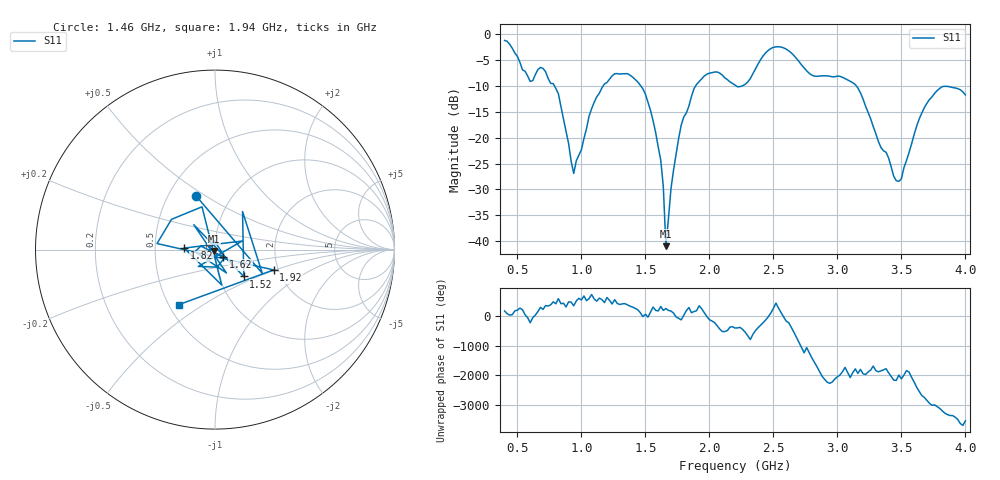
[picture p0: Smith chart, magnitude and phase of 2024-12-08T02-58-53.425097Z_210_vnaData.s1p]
!Created with skrf (http://scikit-rf.org).
# Hz S RI R 50.0
!freq ReS11 ImS11
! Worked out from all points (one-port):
!   181 points, 400 MHz to 4 GHz, reference 50 ohm
!   lowest |S11| = -40.9 dB at 1.66 GHz (marker M1), VSWR 1.02, Z = 49.6 - j0.825 ohm
!   |S11| at or under -10 dB: 788.1 MHz to 1.172 GHz (384 MHz wide, 39.2 % of centre); 1.462 GHz to 1.894 GHz (432.6 MHz wide, 25.8 % of centre); 3.146 GHz to end of sweep (the widest 3 of 4)
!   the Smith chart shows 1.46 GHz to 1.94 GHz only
!   S11 on the Smith chart (normalised r, x): 1.46 GHz: 0.68, +0.46; 1.52 GHz: 1.31, -0.41; 1.62 GHz: 1.09, -0.09; 1.82 GHz: 0.71, +0.01; 1.92 GHz: 1.89, -0.49; 1.94 GHz: 0.56, -0.40
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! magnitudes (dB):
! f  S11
! 400 MHz  -1.3
! 600 MHz  -9.2
! 720 MHz  -7.3
! 820 MHz  -11.6
! 860 MHz  -16.4
! 940 MHz  -26.9
! 1.1 GHz  -13.2
! 1.3 GHz  -7.8
! 1.46 GHz  -9.9
! 1.52 GHz  -13.2
! 1.62 GHz  -24.4
! 1.64 GHz  -29.5
! 1.66 GHz  -40.9
! 1.7 GHz  -29.8
! 1.76 GHz  -20.1
! 1.82 GHz  -15.3
! 1.92 GHz  -9.2
! 1.94 GHz  -8.7
! 2.2 GHz  -9.9
! 2.48 GHz  -2.9
! 2.66 GHz  -4.2
! 2.8 GHz  -8.0
! 3.1 GHz  -9.2
! 3.46 GHz  -28.3
! 3.56 GHz  -22.9
! 3.66 GHz  -15.3
! 3.78 GHz  -11.0
! 4 GHz  -11.8
